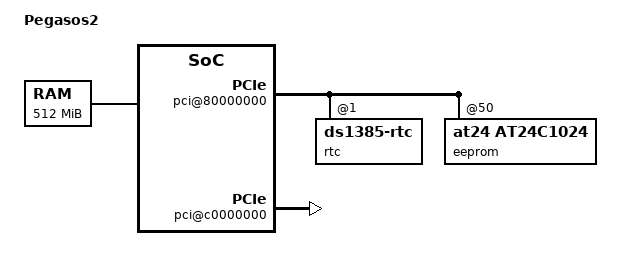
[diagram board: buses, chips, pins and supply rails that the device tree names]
// Based on QEMU Pegasos 2 DTB

/dts-v1/;

/ {
	#address-cells = <0x01>;
	device_type = "chrp";
	compatible = "pegasos2";
	model = "Pegasos2";
	revision = "2B";
	CODEGEN,vendor = "bplan GmbH";
	CODEGEN,board = "Pegasos2";
	CODEGEN,description = "Pegasos CHRP PowerPC System";

	openprom {
		model = "Pegasos2,1.1";
	};

	chosen {
		bootargs = "fs(0,0)host:/vxWorks e=10.0.2.15 h=10.0.2.2 g=10.0.2.2 u=target pw=vxTarget o=gei";
	};

	memory@0 {
		device_type = "memory";
		reg = <0x00 0x20000000>;
	};

	cpus {
		#size-cells = <0x00>;
		#address-cells = <0x01>;
		#cpus = <0x01>;

		PowerPC,G4 {
			device_type = "cpu";
			reg = <0x00 0x00>;
			cpu-version = <0x80020102>;
			clock-frequency = <0x3b9ac9fd>;
			bus-frequency = <0x7f28155>;
			timebase-frequency = <0x1fca055>;
			reservation-granule-size = <0x04>;
			graphics = [00];
			performance-monitor = [00];
			general-purpose = [00];
			external-control = [00];
			data-streams = [00];
			altivec = [00];
			state = "running";
			tlb-size = <0x00>;
			tlb-sets = <0x00>;
			i-cache-line-size = <0x20>;
			i-cache-block-size = <0x20>;
			i-cache-size = <0x8000>;
			d-cache-line-size = <0x20>;
			d-cache-block-size = <0x20>;
			d-cache-size = <0x8000>;
			l2cr = <0x00>;
		};
	};

	l2cache@0 {
		compatible = "ppc,ppc750-l2-cache";
		reg = <0 0>;
		cache-line-size = <32>;
		cache-size = <0x100000>;
     };

	rtas {
		rtas-version = <0x01>;
		rtas-size = <0x14>;
		rtas-display-device = <0x00>;
		rtas-event-scan-rate = <0x00>;
		rtas-error-log-max = <0x00>;
		restart-rtas = <0x00>;
		nvram-fetch = <0x01>;
		nvram-store = <0x02>;
		get-time-of-day = <0x03>;
		set-time-of-day = <0x04>;
		event-scan = <0x06>;
		check-execption = <0x07>;
		read-pci-config = <0x08>;
		write-pci-config = <0x09>;
		display-character = <0x0a>;
		set-indicator = <0x0b>;
		power-off = <0x11>;
		suspend = <0x12>;
		hibernate = <0x13>;
		system-reboot = <0x14>;
	};

	failsafe {
		device_type = "serial";
	};

	soc {
		device_type = "soc";
		compatible = "simple-bus";
		#address-cells = <1>;
		#size-cells = <1>;
		ranges;

		pic: pic@f1000000 {
			compatible = "marvell,mv64360-pic";
			reg = <0xf1000000 0x100>;
			interrupt-controller;
			#interrupt-cells = <1>;
		};
	};

	pci@80000000 {
		device_type = "pci";
		compatible = "pci";
		#address-cells = <0x03>;
		#size-cells = <0x02>;
		#interrupt-cells = <0x01>;
		ranges = <0x1000000 0x00 0x00 0xfe000000 0x00 0x10000
				  0x2000000 0x00 0x80000000 0x80000000 0x00 0x40000000>;
		8259-interrupt-acknowledge = <0xf1000cb4>;
		reg = <0x80000000 0x40000000
			   0xf1000000 0x1000>;
		pci-bridge-number = <0x00>;
		bus-range = <0x00 0x00>;
		interrupt-map-mask = <0xfff800 0 0 7>;
		interrupt-map = <0x1000 0x0 0x0 0x1 &isa 9>;

		host@0 {
			vendor-id = <0x11ab>;
			device-id = <0x6460>;
			revision-id = <0x00>;
			class-code = <0x60000>;
			subsystem-id = <0x1af4>;
			subsystem-vendor-id = <0x1100>;
			reg = <0x00 0x00 0x00 0x00 0x00>;
		};

		display@1 {
			vendor-id = <0x1234>;
			device-id = <0x1111>;
			revision-id = <0x02>;
			class-code = <0x30000>;
			subsystem-id = <0x1af4>;
			subsystem-vendor-id = <0x1100>;
			reg = <0x800 0x00 0x00 0x00 0x00
				0x42000810 0x00 0x00 0x00 0x1000000
				0x2000818 0x00 0x00 0x00 0x1000
				0x2000830 0x00 0x00 0x00 0x10000>;
		};

		isa: isa@c {
			vendor-id = <0x1106>;
			device-id = <0x8231>;
			revision-id = <0x10>;
			class-code = <0x60100>;
			subsystem-id = <0x1af4>;
			subsystem-vendor-id = <0x1100>;
			reg = <0x6000 0x00 0x00 0x00 0x00>;
			device_type = "isa";
			#address-cells = <0x02>;
			#size-cells = <0x01>;
			#interrupt-cells = <0x01>;
			interrupt-controller;

			serial@i2f8 {
				device_type = "serial";
				reg = <0x01 0x2f8 0x08>;
				interrupts = <0x04 0x00>;
				clock-frequency = <0x00>;
			};

			8042@i60 {
				device_type = [00];
				reg = <0x01 0x60 0x05>;
				clock-frequency = <0x00>;
				interrupt-controller = [00];
				#address-cells = <0x01>;
				#size-cells = <0x00>;
				#interrupt-cells = <0x02>;
			};

			keyboard@i60 {
				device_type = "keyboard";
				reg = <0x01 0x60 0x05>;
				interrupts = <0x01 0x00>;
			};

			rtc@i70 {
				device_type = "rtc";
				reg = <0x01 0x70 0x02>;
				interrupts = <0x08 0x00>;
				clock-frequency = <0x00>;
				compatible = "ds1385-rtc";
			};

			timer@i40 {
				device_type = "timer";
				reg = <0x01 0x40 0x08>;
				clock-frequency = <0x00>;
			};

			fdc@i3f0 {
				device_type = "fdc";
				reg = <0x01 0x3f0 0x08>;
				interrupts = <0x06 0x00>;
				clock-frequency = <0x00>;
			};

			lpt@i3bc {
				device_type = "lpt";
				reg = <0x01 0x3bc 0x08>;
				interrupts = <0x07 0x00>;
				clock-frequency = <0x00>;
			};

			m48t59@i74 {
				reg = <0x01 0x74 0x04>;
			};
		};

		ide@c,1 {
			vendor-id = <0x1106>;
			device-id = <0x571>;
			revision-id = <0x06>;
			class-code = <0x1018f>;
			subsystem-id = <0x1af4>;
			subsystem-vendor-id = <0x1100>;
			interrupts = <0x01>;
			reg = <0x6100 0x00 0x00 0x00 0x00
					0x1006110 0x00 0x00 0x00 0x08
					0x1006114 0x00 0x00 0x00 0x04
					0x1006118 0x00 0x00 0x00 0x08
					0x100611c 0x00 0x00 0x00 0x04
					0x1006120 0x00 0x00 0x00 0x10>;
			device_type = "spi";
		};

		usb@c,2 {
			vendor-id = <0x1106>;
			device-id = <0x3038>;
			revision-id = <0x01>;
			class-code = <0xc0300>;
			subsystem-id = <0x1af4>;
			subsystem-vendor-id = <0x1100>;
			interrupts = <0x04>;
			reg = <0x6200 0x00 0x00 0x00 0x00
					0x1006220 0x00 0x00 0x00 0x20>;
			device_type = "usb";
			#address-cells = <0x01>;
			#size-cells = <0x00>;
		};

		usb@c,3 {
			vendor-id = <0x1106>;
			device-id = <0x3038>;
			revision-id = <0x01>;
			class-code = <0xc0300>;
			subsystem-id = <0x1af4>;
			subsystem-vendor-id = <0x1100>;
			interrupts = <0x04>;
			reg = <0x6300 0x00 0x00 0x00 0x00
					0x1006320 0x00 0x00 0x00 0x20>;
			device_type = "usb";
			#address-cells = <0x01>;
			#size-cells = <0x00>;
		};

		i2c@c,4 {
			vendor-id = <0x1106>;
			device-id = <0x8235>;
			revision-id = <0x40>;
			class-code = <0x68000>;
			subsystem-id = <0x1af4>;
			subsystem-vendor-id = <0x1100>;
			reg = <0x6400 0x00 0x00 0x00 0x00>;
			#address-cells = <0x01>;
			#size-cells = <0x00>;
			
			eeprom@50 {
				compatible = "at24,at24c1024";
				reg = <0x50>;
			};

			spd@57 {
				reg = <0x57>;
			};
		};

		sound@c,5 {
			vendor-id = <0x1106>;
			device-id = <0x3058>;
			revision-id = <0x50>;
			class-code = <0x40100>;
			subsystem-id = <0x1af4>;
			subsystem-vendor-id = <0x1100>;
			interrupts = <0x03>;
			reg = <0x6500 0x00 0x00 0x00 0x00
					0x1006510 0x00 0x00 0x00 0x100
					0x1006514 0x00 0x00 0x00 0x04
					0x1006518 0x00 0x00 0x00 0x04>;
		};

		pci1106,3068@c,6 {
			vendor-id = <0x1106>;
			device-id = <0x3068>;
			revision-id = <0x30>;
			class-code = <0x78000>;
			subsystem-id = <0x1af4>;
			subsystem-vendor-id = <0x1100>;
			interrupts = <0x03>;
			reg = <0x6600 0x00 0x00 0x00 0x00>;
		};
	};

	pci@c0000000 {
		device_type = "pci";
		compatible = "pci";
		#address-cells = <0x03>;
		#size-cells = <0x02>;
		ranges = <0x1000000 0x00 0x00 0xf8000000 0x00 0x10000 0x2000000 0x00 0xc0000000 0xc0000000 0x00 0x20000000>;
		reg = <0xc0000000 0x20000000
			   0xf1000000 0x1000>;
		pci-bridge-number = <0x01>;
		bus-range = <0x00 0x00>;

		host@0 {
			vendor-id = <0x11ab>;
			device-id = <0x6460>;
			revision-id = <0x00>;
			class-code = <0x60000>;
			subsystem-id = <0x1af4>;
			subsystem-vendor-id = <0x1100>;
			reg = <0x00 0x00 0x00 0x00 0x00>;
		};
	};
};
